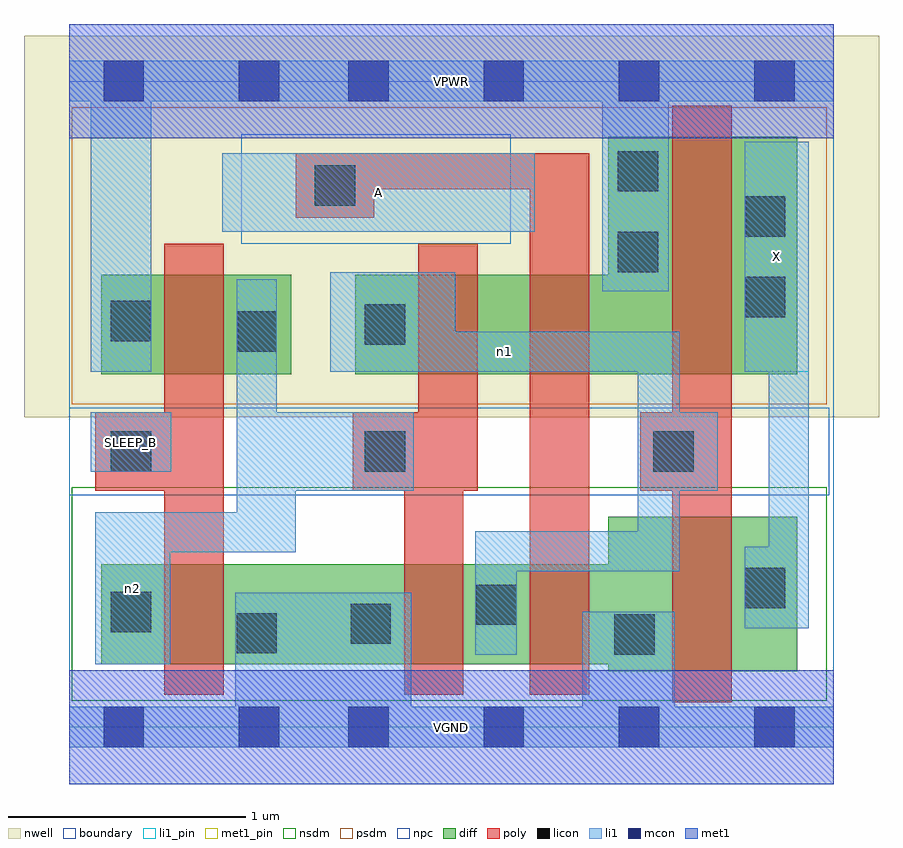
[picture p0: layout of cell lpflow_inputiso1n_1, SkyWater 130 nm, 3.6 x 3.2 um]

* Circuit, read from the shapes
.subckt lpflow_inputiso1n_1 A SLEEP_B VGND VPWR X n1 n2
XM1 VGND SLEEP_B n2 VSUBS sky130_fd_pr__nfet_01v8 w=0.42 l=0.25
XM2 n1 n2 VGND VSUBS sky130_fd_pr__nfet_01v8 w=0.42 l=0.25
XM3 VGND A n1 VSUBS sky130_fd_pr__nfet_01v8 w=0.42 l=0.25
XM4 X n1 VGND VSUBS sky130_fd_pr__nfet_01v8 w=0.65 l=0.25
XM5 n2 SLEEP_B VPWR n3 sky130_fd_pr__pfet_01v8 w=0.42 l=0.25
XM6 n4 n2 n1 n3 sky130_fd_pr__pfet_01v8 w=0.42 l=0.25
XM7 VPWR A n4 n3 sky130_fd_pr__pfet_01v8 w=0.42 l=0.25
XM8 X n1 VPWR n3 sky130_fd_pr__pfet_01v8 w=1 l=0.25
.ends

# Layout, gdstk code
import gdstk
lib = gdstk.Library(unit=1e-6, precision=1e-09)
def R(c, l, rs):  # rectangles x0, y0, x1, y1
    for r in rs: c.add(gdstk.rectangle(r[:2], r[2:], *l))
def A(c, l, x, y, w, h, nx, ny, dx, dy):  # array of equal rectangles
    R(c, l, [(x+i*dx, y+j*dy, x+i*dx+w, y+j*dy+h) for i in range(nx) for j in range(ny)])
nwell = (64, 20)
diff = (65, 20)
poly = (66, 20)
licon = (66, 44)
li1_pin = (67, 16)
li1 = (67, 20)
mcon = (67, 44)
met1_pin = (68, 16)
met1 = (68, 20)
nsdm = (93, 44)
psdm = (94, 20)
npc = (95, 20)
boundary = (235, 4)

lpflow_inputiso1n_1 = lib.new_cell('lpflow_inputiso1n_1')
R(lpflow_inputiso1n_1, nwell, [(-0.19,1.305,3.41,2.91), (0,1.305,3.22,2.91)])
R(lpflow_inputiso1n_1, diff, [(2.27,0.235,3.065,0.885), (0.135,0.265,3.065,0.685), (0.135,1.485,0.935,1.905), (1.205,1.485,3.065,1.905), (2.27,1.485,3.065,2.485)])
R(lpflow_inputiso1n_1, poly, [(2.54,0.105,2.79,2.615), (0.4,0.135,0.65,2.035), (1.41,0.135,1.66,1.325), (1.94,0.135,2.19,2.415), (0.11,0.995,0.65,1.325), (1.195,0.995,1.72,1.325), (1.47,0.995,1.72,2.035), (2.405,0.995,2.79,1.325), (0.955,2.145,1.285,2.415), (0.955,2.265,2.19,2.415)])
R(lpflow_inputiso1n_1, licon, [(2.295,0.305,2.465,0.475), (0.705,0.31,0.875,0.48), (1.185,0.35,1.355,0.52), (0.175,0.4,0.345,0.57), (1.715,0.43,1.885,0.6), (2.845,0.5,3.015,0.67), (0.175,1.075,0.345,1.245), (1.245,1.075,1.415,1.245), (2.46,1.075,2.63,1.245), (0.705,1.58,0.875,1.75), (1.245,1.61,1.415,1.78), (0.175,1.625,0.345,1.795), (2.845,1.725,3.015,1.895), (2.31,1.915,2.48,2.085), (2.845,2.065,3.015,2.235), (1.035,2.195,1.205,2.365), (2.31,2.255,2.48,2.425)])
R(lpflow_inputiso1n_1, li1_pin, [(0.09,1.075,0.43,1.325), (2.845,1.495,3.115,2.465), (0.645,2.085,1.96,2.415)])
R(lpflow_inputiso1n_1, li1, [(0,-0.085,3.22,0.085), (0.7,-0.085,1.44,0.565), (2.16,-0.085,2.55,0.485), (0.11,0.265,0.425,0.905), (1.71,0.305,1.885,0.825), (2.845,0.415,3.115,0.76), (2.945,0.415,3.115,2.465), (1.71,0.655,2.57,0.825), (2.395,0.655,2.57,1.665), (0.11,0.735,0.955,0.905), (0.705,0.735,0.875,1.885), (0.705,0.735,0.955,1.325), (0.705,0.995,1.45,1.325), (2.395,0.995,2.73,1.325), (0.09,1.075,0.43,1.325), (0.09,1.495,0.345,2.805), (1.1,1.495,2.57,1.665), (1.1,1.495,1.625,1.915), (2.845,1.495,3.115,2.465), (2.245,1.835,2.525,2.805), (0.645,2.085,1.96,2.415), (0,2.635,3.22,2.805)])
A(lpflow_inputiso1n_1, mcon, 1.175, -0.085, 0.17, 0.17, 4, 2, 0.57, 2.72)
R(lpflow_inputiso1n_1, mcon, [(0.145,-0.085,0.315,0.085), (0.715,-0.085,0.885,0.085), (0.145,2.635,0.315,2.805), (0.715,2.635,0.885,2.805)])
R(lpflow_inputiso1n_1, met1_pin, [(0,-0.24,3.22,0.24), (0,2.48,3.22,2.96)])
R(lpflow_inputiso1n_1, met1, [(0,-0.24,3.22,0.24), (0,2.48,3.22,2.96)])
R(lpflow_inputiso1n_1, nsdm, [(0.01,0.11,3.19,1.01)])
R(lpflow_inputiso1n_1, psdm, [(0.01,1.36,3.19,2.61)])
R(lpflow_inputiso1n_1, npc, [(0,0.975,3.2,1.345), (0.725,2.035,1.86,2.495)])
R(lpflow_inputiso1n_1, boundary, [(0,0,3.22,2.72)])
lpflow_inputiso1n_1.add(gdstk.Label('A', (1.302,2.25), layer=67, texttype=5))
lpflow_inputiso1n_1.add(gdstk.Label('SLEEP_B', (0.26,1.2), layer=67, texttype=5))
lpflow_inputiso1n_1.add(gdstk.Label('X', (2.98,1.98), layer=67, texttype=5))
lpflow_inputiso1n_1.add(gdstk.Label('n2', (0.267,0.585), layer=67, texttype=5))
lpflow_inputiso1n_1.add(gdstk.Label('n1', (1.835,1.58), layer=67, texttype=5))
lpflow_inputiso1n_1.add(gdstk.Label('VPWR', (1.61,2.72), layer=68, texttype=5))
lpflow_inputiso1n_1.add(gdstk.Label('VGND', (1.61,0), layer=68, texttype=5))
lpflow_inputiso1n_1.add(gdstk.Label('A', (1.302,2.25), layer=67, texttype=16))
lpflow_inputiso1n_1.add(gdstk.Label('SLEEP_B', (0.26,1.2), layer=67, texttype=16))
lpflow_inputiso1n_1.add(gdstk.Label('X', (2.98,1.98), layer=67, texttype=16))
lpflow_inputiso1n_1.add(gdstk.Label('VPWR', (1.61,2.72), layer=68, texttype=16))
lpflow_inputiso1n_1.add(gdstk.Label('VGND', (1.61,0), layer=68, texttype=16))

lib.write_gds('lpflow_inputiso1n_1.gds')
